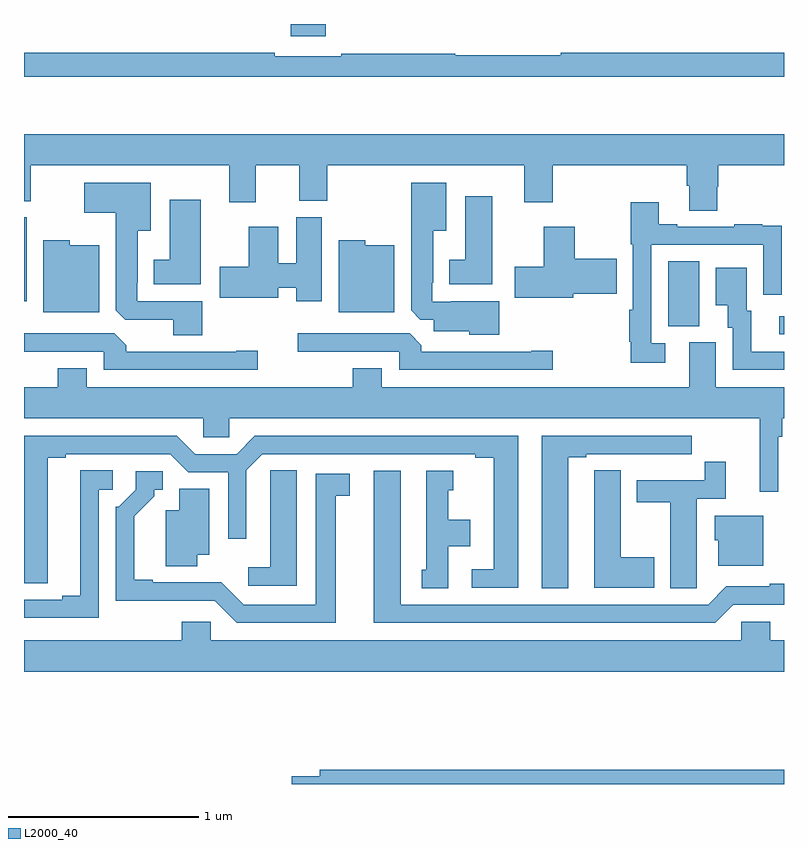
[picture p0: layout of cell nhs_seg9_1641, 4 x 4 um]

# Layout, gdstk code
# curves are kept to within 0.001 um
import gdstk
lib = gdstk.Library(unit=1e-6, precision=1e-09)
def R(c, l, rs):  # rectangles x0, y0, x1, y1
    for r in rs: c.add(gdstk.rectangle(r[:2], r[2:], *l))
def P(c, l, *ps):  # polygons
    for p in ps: c.add(gdstk.Polygon(p, *l))
L2000_40 = (2000, 40)

nhs_seg9_1641 = lib.new_cell('nhs_seg9_1641')
R(nhs_seg9_1641, L2000_40, [(206.976,1192.866,207,1192.962), (206.39,1192.909,206.554,1193.252), (203,1193.04,203.014,1193.482), (204.404,1194.435,204.587,1194.5)])
P(nhs_seg9_1641, L2000_40, [(207,1194.35),(205.826,1194.35),(205.826,1194.335),(205.27,1194.335),(205.27,1194.343),(204.67,1194.343),(204.67,1194.33),(204.32,1194.33),(204.32,1194.35),(203,1194.35),(203,1194.222),(207,1194.222)],
  [(206.649,1193.643),(206.654,1193.643),(206.654,1193.756),(207,1193.756),(207,1193.92),(203,1193.92),(203,1193.567),(203.035,1193.567),(203.035,1193.756),(204.08,1193.756),(204.08,1193.562),(204.22,1193.562),(204.22,1193.756),(204.449,1193.756),(204.449,1193.569),(204.597,1193.569),(204.597,1193.756),(205.634,1193.756),(205.634,1193.562),(205.782,1193.562),(205.782,1193.756),(206.489,1193.756),(206.489,1193.65),(206.501,1193.65),(206.501,1193.518),(206.649,1193.518)],
  [(205.501,1193.041),(205.249,1193.041),(205.249,1193.037),(205.149,1193.037),(205.149,1193.137),(205.153,1193.137),(205.153,1193.411),(205.222,1193.411),(205.222,1193.665),(205.037,1193.665),(205.037,1192.993),(205.086,1192.944),(205.157,1192.944),(205.157,1192.883),(205.344,1192.883),(205.344,1192.865),(205.501,1192.865)],
  [(203.939,1193.04),(203.595,1193.04),(203.595,1193.137),(203.599,1193.137),(203.599,1193.411),(203.668,1193.411),(203.668,1193.665),(203.316,1193.665),(203.316,1193.507),(203.483,1193.507),(203.483,1192.993),(203.532,1192.944),(203.786,1192.944),(203.786,1192.861),(203.939,1192.861)],
  [(205.465,1193.593),(205.322,1193.593),(205.322,1193.26),(205.238,1193.26),(205.238,1193.129),(205.465,1193.129)],
  [(203.929,1193.575),(203.768,1193.575),(203.768,1193.26),(203.684,1193.26),(203.684,1193.129),(203.929,1193.129)],
  [(206.374,1192.821),(206.301,1192.821),(206.301,1193.337),(206.892,1193.337),(206.892,1193.076),(206.988,1193.076),(206.988,1193.33),(206.987,1193.33),(206.987,1193.439),(206.885,1193.439),(206.885,1193.446),(206.737,1193.446),(206.737,1193.433),(206.437,1193.433),(206.437,1193.446),(206.341,1193.446),(206.341,1193.563),(206.193,1193.563),(206.193,1193.34),(206.205,1193.34),(206.205,1192.997),(206.185,1192.997),(206.185,1192.828),(206.193,1192.828),(206.193,1192.716),(206.374,1192.716)],
  [(204.568,1193.484),(204.434,1193.484),(204.434,1193.241),(204.337,1193.241),(204.337,1193.434),(204.182,1193.434),(204.182,1193.223),(204.03,1193.223),(204.03,1193.06),(204.337,1193.06),(204.337,1193.111),(204.434,1193.111),(204.434,1193.04),(204.568,1193.04)],
  [(205.891,1193.081),(206.119,1193.081),(206.119,1193.264),(205.899,1193.264),(205.899,1193.434),(205.736,1193.434),(205.736,1193.223),(205.584,1193.223),(205.584,1193.06),(205.891,1193.06)],
  [(203.395,1193.335),(203.241,1193.335),(203.241,1193.362),(203.102,1193.362),(203.102,1192.982),(203.395,1192.982)],
  [(204.949,1193.335),(204.795,1193.335),(204.795,1193.362),(204.656,1193.362),(204.656,1192.982),(204.949,1192.982)],
  [(207,1192.776),(206.827,1192.776),(206.827,1192.992),(206.803,1192.992),(206.803,1193.218),(206.642,1193.218),(206.642,1193.021),(206.705,1193.021),(206.705,1192.902),(206.73,1192.902),(206.73,1192.68),(207,1192.68)],
  [(205.783,1192.781),(205.67,1192.781),(205.67,1192.776),(205.091,1192.776),(205.091,1192.81),(205.029,1192.872),(204.441,1192.872),(204.441,1192.776),(204.975,1192.776),(204.975,1192.68),(205.783,1192.68)],
  [(204.229,1192.781),(204.116,1192.781),(204.116,1192.776),(203.537,1192.776),(203.537,1192.81),(203.475,1192.872),(203,1192.872),(203,1192.776),(203.421,1192.776),(203.421,1192.68),(204.229,1192.68)],
  [(206.97,1192.328),(206.99,1192.328),(206.99,1192.424),(207,1192.424),(207,1192.588),(206.641,1192.588),(206.641,1192.824),(206.501,1192.824),(206.501,1192.588),(204.883,1192.588),(204.883,1192.687),(204.731,1192.687),(204.731,1192.588),(203.329,1192.588),(203.329,1192.687),(203.177,1192.687),(203.177,1192.588),(203,1192.588),(203,1192.424),(203.943,1192.424),(203.943,1192.326),(204.081,1192.326),(204.081,1192.424),(206.873,1192.424),(206.873,1192.038),(206.97,1192.038)],
  [(205.6,1192.332),(204.215,1192.332),(204.119,1192.236),(203.901,1192.236),(203.805,1192.332),(203,1192.332),(203,1191.556),(203.125,1191.556),(203.125,1192.216),(203.221,1192.216),(203.221,1192.236),(203.769,1192.236),(203.865,1192.14),(204.075,1192.14),(204.075,1191.792),(204.171,1191.792),(204.171,1192.152),(204.255,1192.236),(205.376,1192.236),(205.376,1192.216),(205.472,1192.216),(205.472,1191.63),(205.356,1191.63),(205.356,1191.534),(205.6,1191.534)],
  [(205.864,1192.221),(205.96,1192.221),(205.96,1192.236),(206.236,1192.236),(206.236,1192.235),(206.402,1192.235),(206.402,1192.236),(206.515,1192.236),(206.515,1192.332),(205.724,1192.332),(205.724,1191.529),(205.864,1191.529)],
  [(206.541,1191.64),(206.542,1191.64),(206.542,1192.002),(206.693,1192.002),(206.693,1192.195),(206.584,1192.195),(206.584,1192.098),(206.225,1192.098),(206.225,1191.982),(206.402,1191.982),(206.402,1191.529),(206.541,1191.529)],
  [(206.317,1191.693),(206.14,1191.693),(206.14,1192.151),(206.001,1192.151),(206.001,1192.043),(206,1192.043),(206,1191.533),(206.317,1191.533)],
  [(204.436,1192.151),(204.297,1192.151),(204.297,1192.043),(204.296,1192.043),(204.296,1191.64),(204.18,1191.64),(204.18,1191.543),(204.436,1191.543)],
  [(203.394,1192.05),(203.467,1192.05),(203.467,1192.151),(203.297,1192.151),(203.297,1191.491),(203.201,1191.491),(203.201,1191.471),(203,1191.471),(203,1191.375),(203.394,1191.375)],
  [(205.234,1191.752),(205.348,1191.752),(205.348,1191.892),(205.234,1191.892),(205.234,1192.047),(205.258,1192.047),(205.258,1192.15),(205.118,1192.15),(205.118,1191.627),(205.094,1191.627),(205.094,1191.529),(205.234,1191.529)],
  [(206.733,1191.444),(207,1191.444),(207,1191.553),(206.924,1191.553),(206.924,1191.54),(206.697,1191.54),(206.601,1191.444),(204.982,1191.444),(204.982,1192.15),(204.842,1192.15),(204.842,1191.348),(206.637,1191.348)],
  [(204.64,1192.018),(204.715,1192.018),(204.715,1192.134),(204.536,1192.134),(204.536,1191.444),(204.156,1191.444),(204.038,1191.562),(203.677,1191.561),(203.677,1191.574),(203.581,1191.574),(203.581,1191.91),(203.686,1192.015),(203.686,1192.05),(203.731,1192.05),(203.731,1192.146),(203.589,1192.146),(203.589,1192.05),(203.499,1191.96),(203.484,1191.96),(203.484,1191.464),(204.003,1191.465),(204.12,1191.348),(204.64,1191.348)],
  [(203.911,1191.707),(203.974,1191.707),(203.974,1192.055),(203.816,1192.055),(203.816,1191.94),(203.747,1191.94),(203.747,1191.646),(203.911,1191.646)],
  [(206.89,1191.913),(206.636,1191.913),(206.636,1191.783),(206.654,1191.783),(206.654,1191.65),(206.89,1191.65)],
  [(207,1191.256),(206.927,1191.256),(206.927,1191.354),(206.775,1191.354),(206.775,1191.256),(203.982,1191.256),(203.982,1191.354),(203.831,1191.354),(203.831,1191.256),(203,1191.256),(203,1191.092),(207,1191.092)],
  [(207,1190.576),(204.557,1190.576),(204.557,1190.54),(204.408,1190.54),(204.408,1190.5),(207,1190.5)])

lib.write_gds('nhs_seg9_1641.gds')
